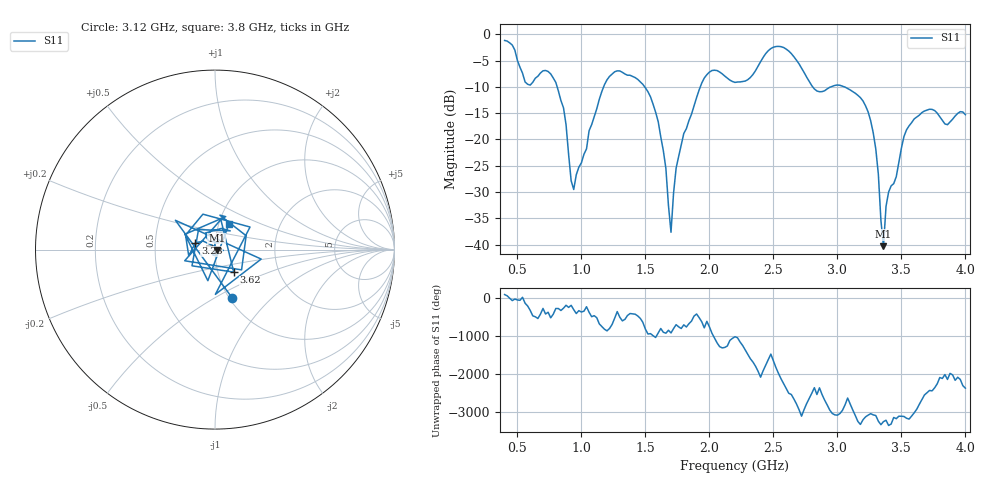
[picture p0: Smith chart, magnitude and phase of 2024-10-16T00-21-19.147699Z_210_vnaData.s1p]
! Created with skrf (http://scikit-rf.org).
# Hz S RI R 50.0
!freq ReS11 ImS11
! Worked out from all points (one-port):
!   181 points, 400 MHz to 4 GHz, reference 50 ohm
!   lowest |S11| = -40.3 dB at 3.36 GHz (marker M1), VSWR 1.02, Z = 50.9 - j0.264 ohm
!   |S11| at or under -10 dB: 810.4 MHz to 1.174 GHz (363.3 MHz wide, 36.6 % of centre); 1.494 GHz to 1.929 GHz (434.7 MHz wide, 25.4 % of centre); 3.054 GHz to end of sweep (the widest 3 of 4)
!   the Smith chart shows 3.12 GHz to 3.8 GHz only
!   S11 on the Smith chart (normalised r, x): 3.12 GHz: 1.03, -0.60; 3.28 GHz: 0.80, +0.06; 3.62 GHz: 1.19, -0.31; 3.8 GHz: 1.12, +0.33
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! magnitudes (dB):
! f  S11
! 400 MHz  -1.2
! 580 MHz  -9.5
! 760 MHz  -7.5
! 860 MHz  -14.0
! 940 MHz  -29.5
! 1.18 GHz  -9.6
! 1.3 GHz  -7.0
! 1.48 GHz  -9.5
! 1.58 GHz  -14.8
! 1.66 GHz  -25.5
! 1.7 GHz  -37.7
! 1.72 GHz  -30.2
! 1.76 GHz  -23.2
! 1.96 GHz  -8.3
! 2.2 GHz  -9.2
! 2.5 GHz  -2.5
! 2.66 GHz  -4.3
! 2.84 GHz  -10.8
! 3.1 GHz  -10.6
! 3.12 GHz  -10.9
! 3.28 GHz  -18.8
! 3.32 GHz  -26.6
! 3.36 GHz  -40.3
! 3.4 GHz  -30.0
! 3.56 GHz  -17.4
! 3.62 GHz  -15.7
! 3.8 GHz  -15.7
! 4 GHz  -15.3
